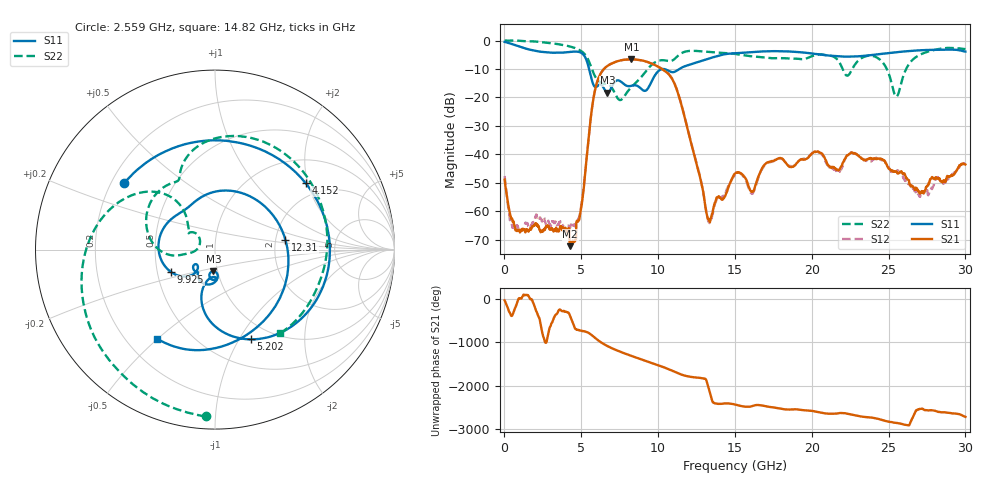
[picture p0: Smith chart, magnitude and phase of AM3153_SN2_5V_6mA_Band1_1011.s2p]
!Agilent Technologies,E8364B,MY43040894,A.07.50.67
!Agilent E8364B: A.07.50.67
!Date: Tuesday, May 12, 2020 09:46:02
!Correction: S11(Full 2 Port(1,2))
!S21(Full 2 Port(1,2))
!S12(Full 2 Port(1,2))
!S22(Full 2 Port(1,2))
!S2P File: Measurements: S11, S21, S12, S22:
# Hz S  dB  R 50
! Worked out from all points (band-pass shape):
!   1601 points, 10 MHz to 30 GHz, reference 50 ohm
!   highest |S21| = -6.59 dB at 8.257 GHz (marker M1); lowest = -72.3 dB at 4.284 GHz (marker M2)
!   |S21| within 3 dB of the highest: 6.546 GHz to 10.13 GHz (3.589 GHz wide, 43 % of centre)
!   lowest |S11| = -18.4 dB at 6.702 GHz (marker M3), VSWR 1.27, Z = 47.8 - j11.7 ohm
!   |S11| at or under -10 dB: 5.509 GHz to 10.31 GHz (4.801 GHz wide, 60.7 % of centre); 10.34 GHz to 11.37 GHz (1.03 GHz wide, 9.48 % of centre)
!   |S22| runs from -20.9 to 0.0 dB; largest |S21 - S12| = 0.0075
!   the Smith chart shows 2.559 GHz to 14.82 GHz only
!   S11 on the Smith chart (normalised r, x): 2.559 GHz: 0.25, +0.31; 4.152 GHz: 1.59, +1.94; 5.202 GHz: 0.80, -1.12; 9.925 GHz: 0.59, -0.16; 12.31 GHz: 2.27, +0.29; 14.82 GHz: 0.33, -0.50
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1e7  -0.50 -7.9  -48.89 -36.1  -47.59 116.1  0.00 -2.0
8.534688e8  -1.89 -91.9  -66.84 -55.0  -65.39 54.8  -0.02 -30.8
2.55915e9  -4.05 143.7  -66.72 -174.1  -62.33 172.3  -0.62 -93.2
4.152369e9  -4.07 36.3  -66.51 41.6  -65.01 -23.1  -1.93 -154.6
4.283575e9  -4.00 25.8  -72.26 -43.3  -65.55 -36.9  -2.11 -160.3
5.014581e9  -4.37 -45.2  -58.05 -9.8  -57.12 -14.0  -3.77 163.2
5.202019e9  -5.39 -68.4  -49.46 -25.6  -49.13 -27.0  -4.64 151.8
5.876794e9  -16.23 -95.7  -17.86 -170.9  -17.84 -170.7  -12.39 131.6
6.701519e9  -18.37 -94.1  -8.91 -5.1  -8.93 -5.0  -15.30 147.0
7.338806e9  -14.00 -103.5  -7.30 -107.3  -7.30 -107.1  -20.07 147.6
8.25725e9  -15.91 -128.2  -6.59 129.5  -6.61 129.7  -16.41 -171.8
9.925444e9  -11.25 -152.7  -8.96 -75.1  -8.95 -73.9  -7.31 151.8
1.001916e10  -10.72 -160.3  -9.23 -86.8  -9.21 -85.6  -7.13 147.1
1.23059e10  -8.05 7.8  -39.26 -1.4  -39.05 -0.6  -3.60 54.6
1.333681e10  -6.26 -58.6  -63.12 50.5  -64.16 -107.4  -4.01 7.1
1.481756e10  -4.54 -122.8  -48.41 106.4  -48.55 103.9  -4.57 -52.0
1.5005e10  -4.46 -129.4  -46.74 92.4  -47.12 90.9  -4.70 -60.1
1.8004e10  -3.76 136.0  -41.36 -4.7  -41.58 -1.8  -6.17 177.3
2.000958e10  -4.55 63.6  -39.75 -53.0  -39.62 -53.7  -5.50 40.3
2.135913e10  -5.40 6.1  -44.57 -121.1  -44.91 -113.5  -5.53 -78.7
2.501416e10  -4.40 -148.1  -45.06 56.1  -44.58 63.8  -11.69 134.7
3e10  -3.88 79.4  -43.53 169.1  -43.35 -176.1  -3.01 93.8
